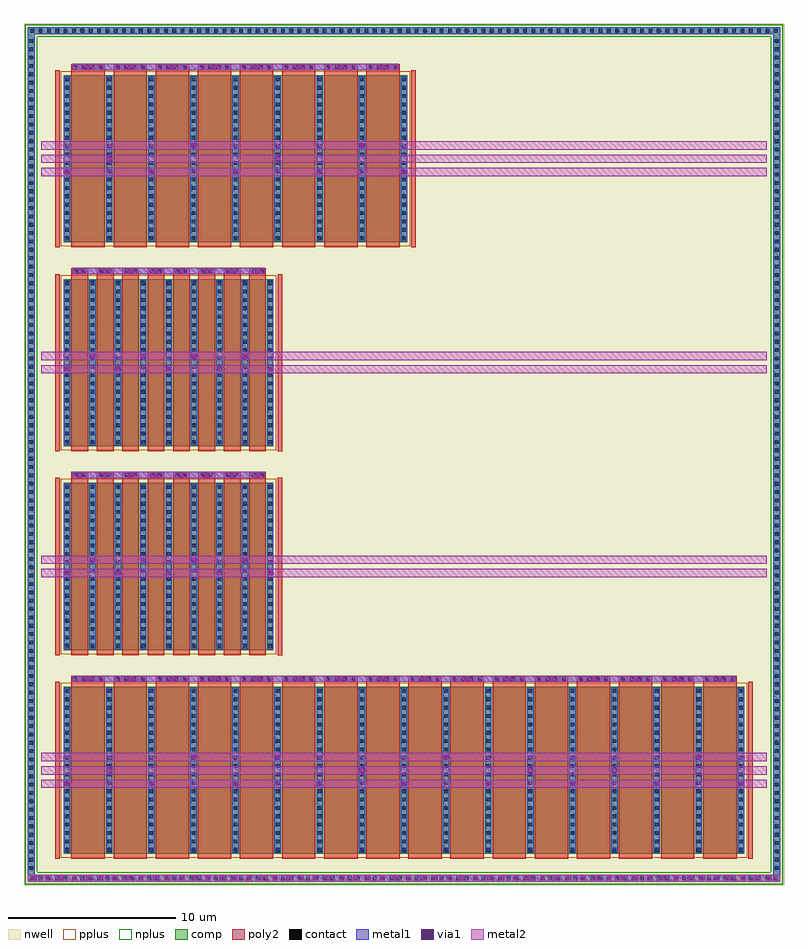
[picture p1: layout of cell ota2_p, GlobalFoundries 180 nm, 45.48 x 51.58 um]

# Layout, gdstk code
import gdstk
lib = gdstk.Library(unit=1e-6, precision=1e-09)
def R(c, l, rs):  # rectangles x0, y0, x1, y1
    for r in rs: c.add(gdstk.rectangle(r[:2], r[2:], *l))
def A(c, l, x, y, w, h, nx, ny, dx, dy):  # array of equal rectangles
    R(c, l, [(x+i*dx, y+j*dy, x+i*dx+w, y+j*dy+h) for i in range(nx) for j in range(ny)])
nwell = (21, 0)
comp = (22, 0)
poly2 = (30, 0)
pplus = (31, 0)
nplus = (32, 0)
contact = (33, 0)
metal1 = (34, 0)
via1 = (35, 0)
metal2 = (36, 0)

ota2_p = lib.new_cell('ota2_p')
R(ota2_p, nwell, [(-0.22,-0.22,45.26,51.36)])
R(ota2_p, comp, [(0,0,45.04,0.42), (0,0,0.42,51.14), (44.62,0,45.04,51.14), (2.17,1.67,42.87,11.67), (2.17,13.87,14.71,23.87), (2.17,26.07,14.71,36.07), (2.17,38.27,22.71,48.27), (0,50.72,45.04,51.14)])
A(ota2_p, poly2, 1.65, 1.37, 0.28, 10.6, 1, 4, 0, 12.2)
A(ota2_p, poly2, 2.62, 1.37, 2, 10.96, 16, 1, 2.52, 0)
A(ota2_p, poly2, 2.62, 13.57, 1, 10.96, 8, 2, 1.52, 12.2)
A(ota2_p, poly2, 2.62, 37.97, 2, 10.96, 8, 1, 2.52, 0)
R(ota2_p, poly2, [(43.11,1.37,43.39,11.97), (14.95,13.57,15.23,24.17), (14.95,25.77,15.23,36.37), (22.95,37.97,23.23,48.57)])
R(ota2_p, pplus, [(1.99,1.43,43.05,11.91), (1.99,13.63,14.89,24.11), (1.99,25.83,14.89,36.31), (1.99,38.03,22.89,48.51)])
R(ota2_p, nplus, [(-0.16,-0.16,45.2,0.58), (-0.16,-0.16,0.58,51.3), (44.46,-0.16,45.2,51.3), (-0.16,50.56,45.2,51.3)])
A(ota2_p, contact, 0.16, 0.1, 0.22, 0.22, 90, 2, 0.5, 50.72)
A(ota2_p, contact, 0.1, 0.71, 0.22, 0.22, 1, 100, 0, 0.5)
A(ota2_p, contact, 44.72, 0.71, 0.22, 0.22, 1, 100, 0, 0.5)
A(ota2_p, contact, 2.25, 1.81, 0.22, 0.22, 17, 20, 2.52, 0.5)
A(ota2_p, contact, 2.76, 12.04, 0.22, 0.22, 4, 2, 0.5, 36.6)
A(ota2_p, contact, 5.28, 12.04, 0.22, 0.22, 4, 2, 0.5, 36.6)
A(ota2_p, contact, 7.8, 12.04, 0.22, 0.22, 4, 2, 0.5, 36.6)
A(ota2_p, contact, 10.32, 12.04, 0.22, 0.22, 4, 2, 0.5, 36.6)
A(ota2_p, contact, 12.84, 12.04, 0.22, 0.22, 4, 2, 0.5, 36.6)
A(ota2_p, contact, 15.36, 12.04, 0.22, 0.22, 4, 2, 0.5, 36.6)
A(ota2_p, contact, 17.88, 12.04, 0.22, 0.22, 4, 2, 0.5, 36.6)
A(ota2_p, contact, 20.4, 12.04, 0.22, 0.22, 4, 2, 0.5, 36.6)
A(ota2_p, contact, 22.92, 12.04, 0.22, 0.22, 4, 1, 0.5, 0)
A(ota2_p, contact, 25.44, 12.04, 0.22, 0.22, 4, 1, 0.5, 0)
A(ota2_p, contact, 27.96, 12.04, 0.22, 0.22, 4, 1, 0.5, 0)
A(ota2_p, contact, 30.48, 12.04, 0.22, 0.22, 4, 1, 0.5, 0)
A(ota2_p, contact, 33, 12.04, 0.22, 0.22, 4, 1, 0.5, 0)
A(ota2_p, contact, 35.52, 12.04, 0.22, 0.22, 4, 1, 0.5, 0)
A(ota2_p, contact, 38.04, 12.04, 0.22, 0.22, 4, 1, 0.5, 0)
A(ota2_p, contact, 40.56, 12.04, 0.22, 0.22, 4, 1, 0.5, 0)
A(ota2_p, contact, 2.25, 14.01, 0.22, 0.22, 9, 20, 1.52, 0.5)
A(ota2_p, contact, 2.25, 26.21, 0.22, 0.22, 9, 20, 1.52, 0.5)
A(ota2_p, contact, 2.25, 38.41, 0.22, 0.22, 9, 20, 2.52, 0.5)
R(ota2_p, contact, [(2.76,24.24,2.98,24.46), (3.26,24.24,3.48,24.46), (4.28,24.24,4.5,24.46), (4.78,24.24,5,24.46), (5.8,24.24,6.02,24.46), (6.3,24.24,6.52,24.46), (7.32,24.24,7.54,24.46), (7.82,24.24,8.04,24.46), (8.84,24.24,9.06,24.46), (9.34,24.24,9.56,24.46), (10.36,24.24,10.58,24.46), (10.86,24.24,11.08,24.46), (11.88,24.24,12.1,24.46), (12.38,24.24,12.6,24.46), (13.4,24.24,13.62,24.46), (13.9,24.24,14.12,24.46), (2.76,36.44,2.98,36.66), (3.26,36.44,3.48,36.66), (4.28,36.44,4.5,36.66), (4.78,36.44,5,36.66), (5.8,36.44,6.02,36.66), (6.3,36.44,6.52,36.66), (7.32,36.44,7.54,36.66), (7.82,36.44,8.04,36.66), (8.84,36.44,9.06,36.66), (9.34,36.44,9.56,36.66), (10.36,36.44,10.58,36.66), (10.86,36.44,11.08,36.66), (11.88,36.44,12.1,36.66), (12.38,36.44,12.6,36.66), (13.4,36.44,13.62,36.66), (13.9,36.44,14.12,36.66)])
A(ota2_p, metal1, 2.17, 1.73, 0.38, 9.88, 17, 1, 2.52, 0)
A(ota2_p, metal1, 2.17, 13.93, 0.38, 9.88, 9, 2, 1.52, 12.2)
A(ota2_p, metal1, 2.17, 38.33, 0.38, 9.88, 9, 1, 2.52, 0)
R(ota2_p, metal1, [(0,0,45.04,0.42), (0,0,0.42,51.14), (44.62,0,45.04,51.14), (2.68,11.96,42.36,12.34), (2.68,24.16,14.2,24.54), (2.68,36.36,14.2,36.74), (2.68,48.56,22.2,48.94), (0,50.72,45.04,51.14)])
A(ota2_p, via1, 0.27, 0.08, 0.26, 0.26, 56, 1, 0.8, 0)
A(ota2_p, via1, 2.23, 5.74, 0.26, 0.26, 9, 1, 5.04, 0)
A(ota2_p, via1, 3.49, 12.02, 0.26, 0.26, 16, 1, 2.52, 0)
A(ota2_p, via1, 2.23, 18.34, 0.26, 0.26, 5, 2, 3.04, 12.2)
A(ota2_p, via1, 3.75, 19.14, 0.26, 0.26, 4, 2, 3.04, 12.2)
A(ota2_p, via1, 2.99, 24.22, 0.26, 0.26, 8, 2, 1.52, 12.2)
A(ota2_p, via1, 2.23, 42.34, 0.26, 0.26, 5, 1, 5.04, 0)
A(ota2_p, via1, 3.49, 48.62, 0.26, 0.26, 8, 1, 2.52, 0)
R(ota2_p, via1, [(4.75,6.54,5.01,6.8), (19.87,6.54,20.13,6.8), (29.95,6.54,30.21,6.8), (34.99,6.54,35.25,6.8), (9.79,7.34,10.05,7.6), (14.83,7.34,15.09,7.6), (24.91,7.34,25.17,7.6), (40.03,7.34,40.29,7.6), (4.75,43.14,5.01,43.4), (14.83,43.14,15.09,43.4), (9.79,43.94,10.05,44.2), (19.87,43.94,20.13,44.2)])
A(ota2_p, metal2, 0.82, 5.62, 43.4, 0.5, 1, 3, 0, 0.8)
A(ota2_p, metal2, 0.82, 42.22, 43.4, 0.5, 1, 3, 0, 0.8)
R(ota2_p, metal2, [(0,0,45.04,0.42), (2.68,11.96,42.36,12.34), (0.82,18.22,44.22,18.72), (0.82,19.02,44.22,19.52), (2.68,24.16,14.2,24.54), (0.82,30.42,44.22,30.92), (0.82,31.22,44.22,31.72), (2.68,36.36,14.2,36.74), (2.68,48.56,22.2,48.94)])

lib.write_gds('ota2_p.gds')
